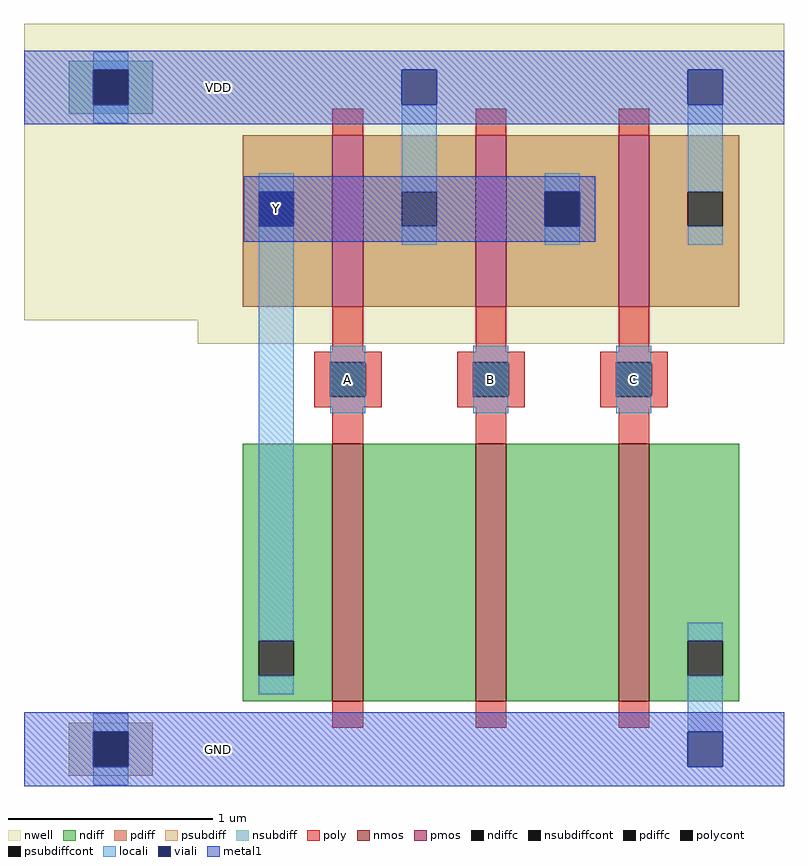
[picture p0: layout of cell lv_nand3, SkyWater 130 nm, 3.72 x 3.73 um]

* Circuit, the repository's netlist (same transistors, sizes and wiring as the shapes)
* NGSPICE file created from lv_nand3.ext - technology: sky130A

.subckt nand3 A B C Y VDD GND w_0_397# VSUBS
X0 a_302_47# B a_162_47# VSUBS sky130_fd_pr__nfet_01v8 ad=0.3465 pd=1.81 as=0.3465 ps=1.81 w=1.26 l=0.15
X1 VDD C Y w_0_397# sky130_fd_pr__pfet_01v8 ad=0.3696 pd=2.56 as=0.231 ps=1.39 w=0.84 l=0.15
X2 Y B VDD w_0_397# sky130_fd_pr__pfet_01v8 ad=0.231 pd=1.39 as=0.231 ps=1.39 w=0.84 l=0.15
X3 VDD A Y w_0_397# sky130_fd_pr__pfet_01v8 ad=0.231 pd=1.39 as=0.3696 ps=2.56 w=0.84 l=0.15
X4 GND C a_302_47# VSUBS sky130_fd_pr__nfet_01v8 ad=0.5544 pd=3.4 as=0.3465 ps=1.81 w=1.26 l=0.15
X5 a_162_47# A Y VSUBS sky130_fd_pr__nfet_01v8 ad=0.3465 pd=1.81 as=0.5544 ps=3.4 w=1.26 l=0.15
.ends

.subckt lv_nand3 A B C Y VDD GND
Xu A B C Y VDD GND VDD GND nand3
.ends

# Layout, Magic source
magic
tech sky130A
magscale 1 2
<< locali >>
rect 300 345 334 379
rect 440 345 474 379
rect 580 345 614 379
<< metal1 >>
rect 173 631 207 665
rect 230 512 264 546
rect 173 -17 207 17
use tap  t
transform 1 0 0 0 1 0
box 0 -36 170 710
use nand3  u
transform 1 0 170 0 1 0
box 0 -36 574 710
<< labels >>
rlabel locali 317 362 317 362 0 A
port 1 nsew
rlabel locali 457 362 457 362 0 B
port 2 nsew
rlabel locali 597 362 597 362 0 C
port 3 nsew
rlabel metal1 247 529 247 529 0 Y
port 4 nsew
rlabel metal1 190 648 190 648 0 VDD
port 5 nsew
rlabel metal1 190 0 190 0 0 GND
port 6 nsew
<< end >>

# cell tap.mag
magic
tech sky130A
magscale 1 2
<< nwell >>
rect 0 420 170 710
<< psubdiff >>
rect 44 17 126 26
rect 44 -17 68 17
rect 102 -17 126 17
rect 44 -26 126 -17
<< nsubdiff >>
rect 44 665 126 674
rect 44 631 68 665
rect 102 631 126 665
rect 44 622 126 631
<< psubdiffcont >>
rect 68 -17 102 17
<< nsubdiffcont >>
rect 68 631 102 665
<< locali >>
rect 68 665 102 683
rect 68 613 102 631
rect 68 17 102 35
rect 68 -35 102 -17
<< viali >>
rect 68 631 102 665
rect 68 -17 102 17
<< metal1 >>
rect 0 665 170 684
rect 0 631 68 665
rect 102 631 170 665
rect 0 612 170 631
rect 0 17 170 36
rect 0 -17 68 17
rect 102 -17 170 17
rect 0 -36 170 -17
<< labels >>
rlabel metal1 20 648 20 648 0 VDD
port 1 nsew
rlabel metal1 20 0 20 0 0 GND
port 2 nsew
<< end >>

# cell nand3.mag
magic
tech sky130A
magscale 1 2
<< nwell >>
rect 0 397 574 710
<< nmos >>
rect 132 47 162 299
rect 272 47 302 299
rect 412 47 442 299
<< pmos >>
rect 132 433 162 601
rect 272 433 302 601
rect 412 433 442 601
<< ndiff >>
rect 44 106 132 299
rect 44 72 60 106
rect 94 72 132 106
rect 44 47 132 72
rect 162 47 272 299
rect 302 47 412 299
rect 442 106 530 299
rect 442 72 480 106
rect 514 72 530 106
rect 442 47 530 72
<< pdiff >>
rect 44 546 132 601
rect 44 512 60 546
rect 94 512 132 546
rect 44 433 132 512
rect 162 546 272 601
rect 162 512 200 546
rect 234 512 272 546
rect 162 433 272 512
rect 302 546 412 601
rect 302 512 340 546
rect 374 512 412 546
rect 302 433 412 512
rect 442 546 530 601
rect 442 512 480 546
rect 514 512 530 546
rect 442 433 530 512
<< ndiffc >>
rect 60 72 94 106
rect 480 72 514 106
<< pdiffc >>
rect 60 512 94 546
rect 200 512 234 546
rect 340 512 374 546
rect 480 512 514 546
<< poly >>
rect 132 601 162 627
rect 272 601 302 627
rect 412 601 442 627
rect 132 389 162 433
rect 272 389 302 433
rect 412 389 442 433
rect 114 379 180 389
rect 114 345 130 379
rect 164 345 180 379
rect 114 335 180 345
rect 254 379 320 389
rect 254 345 270 379
rect 304 345 320 379
rect 254 335 320 345
rect 394 379 460 389
rect 394 345 410 379
rect 444 345 460 379
rect 394 335 460 345
rect 132 299 162 335
rect 272 299 302 335
rect 412 299 442 335
rect 132 21 162 47
rect 272 21 302 47
rect 412 21 442 47
<< polycont >>
rect 130 345 164 379
rect 270 345 304 379
rect 410 345 444 379
<< locali >>
rect 60 546 94 564
rect 60 106 94 512
rect 200 546 234 631
rect 200 494 234 512
rect 340 546 374 564
rect 340 494 374 512
rect 480 546 514 631
rect 480 494 514 512
rect 130 379 164 395
rect 130 329 164 345
rect 270 379 304 395
rect 270 329 304 345
rect 410 379 444 395
rect 410 329 444 345
rect 60 54 94 72
rect 480 106 514 124
rect 480 17 514 72
<< viali >>
rect 200 631 234 665
rect 60 512 94 546
rect 480 631 514 665
rect 340 512 374 546
rect 480 -17 514 17
<< metal1 >>
rect 0 665 574 684
rect 0 631 200 665
rect 234 631 480 665
rect 514 631 574 665
rect 0 612 574 631
rect 45 546 389 561
rect 45 512 60 546
rect 94 512 340 546
rect 374 512 389 546
rect 45 497 389 512
rect 0 17 574 36
rect 0 -17 480 17
rect 514 -17 574 17
rect 0 -36 574 -17
<< labels >>
rlabel polycont 147 362 147 362 0 A
port 1 nsew
rlabel polycont 287 362 287 362 0 B
port 2 nsew
rlabel polycont 427 362 427 362 0 C
port 3 nsew
rlabel viali 77 529 77 529 0 Y
port 4 nsew
rlabel metal1 20 648 20 648 0 VDD
port 5 nsew
rlabel metal1 20 0 20 0 0 GND
port 6 nsew
<< end >>
